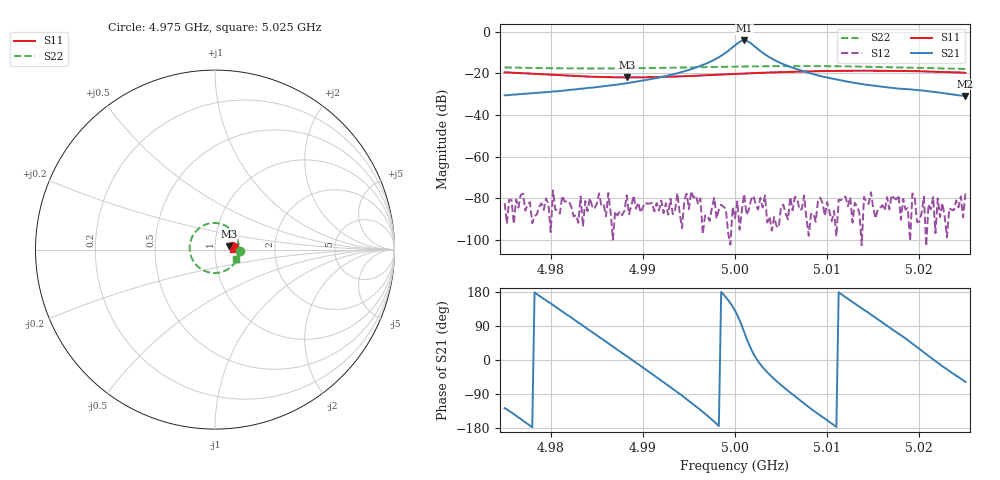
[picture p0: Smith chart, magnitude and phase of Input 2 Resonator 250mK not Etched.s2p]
!Agilent Technologies,N5230A,MY45001652,A.07.50.57
!Agilent N5230A: A.07.50.57
!Date: Sunday, September 20, 2015 12:35:53
!Correction: S11(Full 2 Port(1,2))
!S21(Full 2 Port(1,2))
!S12(Full 2 Port(1,2))
!S22(Full 2 Port(1,2))
!S2P File: Measurements: S11, S21, S12, S22:
# Hz S  dB  R 50
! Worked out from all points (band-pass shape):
!   201 points, 4.975 GHz to 5.025 GHz, reference 50 ohm
!   highest |S21| = -4.24 dB at 5.001 GHz (marker M1); lowest = -30.9 dB at 5.025 GHz (marker M2)
!   |S21| within 3 dB of the highest: 4.999825 GHz to 5.002175 GHz (2.35 MHz wide, 0.047 % of centre)
!   lowest |S11| = -22.0 dB at 4.98825 GHz (marker M3), VSWR 1.17, Z = 58.3 + j2.22 ohm
!   |S11| at or under -10 dB: start of sweep to end of sweep
!   |S22| runs from -17.9 to -16.5 dB; largest |S21 - S12| = 0.61
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4.975e9  -19.51 7.2  -30.59 -127.1  -82.40 57.3  -17.21 -2.8
4.98e9  -20.72 5.7  -28.92 149.3  -96.30 -49.3  -17.57 -42.2
4.98025e9  -20.77 5.8  -28.70 145.2  -76.27 62.2  -17.58 -44.2
4.9805e9  -20.84 5.8  -28.73 141.3  -85.56 -146.8  -17.60 -46.2
4.9835e9  -21.50 7.8  -27.38 90.5  -93.63 177.2  -17.70 -70.6
4.98825e9  -22.00 13.8  -24.78 10.0  -78.57 149.1  -17.61 -109.5
4.99175e9  -21.82 18.4  -22.06 -49.9  -85.97 -29.2  -17.42 -137.7
4.99375e9  -21.56 20.5  -19.97 -85.1  -77.55 -89.6  -17.26 -153.6
4.995e9  -21.33 21.4  -18.38 -107.9  -85.27 -174.7  -17.18 -163.3
4.99525e9  -21.28 21.5  -18.05 -112.5  -76.63 115.5  -17.15 -165.4
4.9955e9  -21.23 21.7  -17.67 -117.2  -79.69 8.1  -17.13 -167.2
4.9975e9  -20.84 22.4  -14.09 -157.3  -84.47 15.6  -17.00 177.4
5e9  -20.33 22.2  -6.60 130.2  -89.56 -84.8  -16.82 158.7
5.001e9  -20.11 22.2  -4.24 73.6  -78.00 5.2  -16.75 151.6
5.00175e9  -19.98 22.1  -5.71 28.7  -80.65 121.4  -16.69 146.0
5.00325e9  -19.72 21.7  -10.92 -25.9  -78.66 -0.1  -16.62 135.2
5.0085e9  -19.04 18.1  -20.43 -133.3  -87.24 152.1  -16.54 97.9
5.0145e9  -18.77 11.8  -25.69 124.1  -82.72 -150.6  -16.84 55.5
5.01475e9  -18.77 11.5  -25.76 119.8  -77.19 52.3  -16.86 53.7
5.015e9  -18.76 11.3  -25.97 115.8  -84.80 -111.2  -16.87 51.9
5.01675e9  -18.82 9.4  -26.89 86.1  -85.36 -141.6  -17.04 39.2
5.025e9  -19.74 1.2  -30.87 -57.6  -77.73 -135.1  -17.94 -24.1
